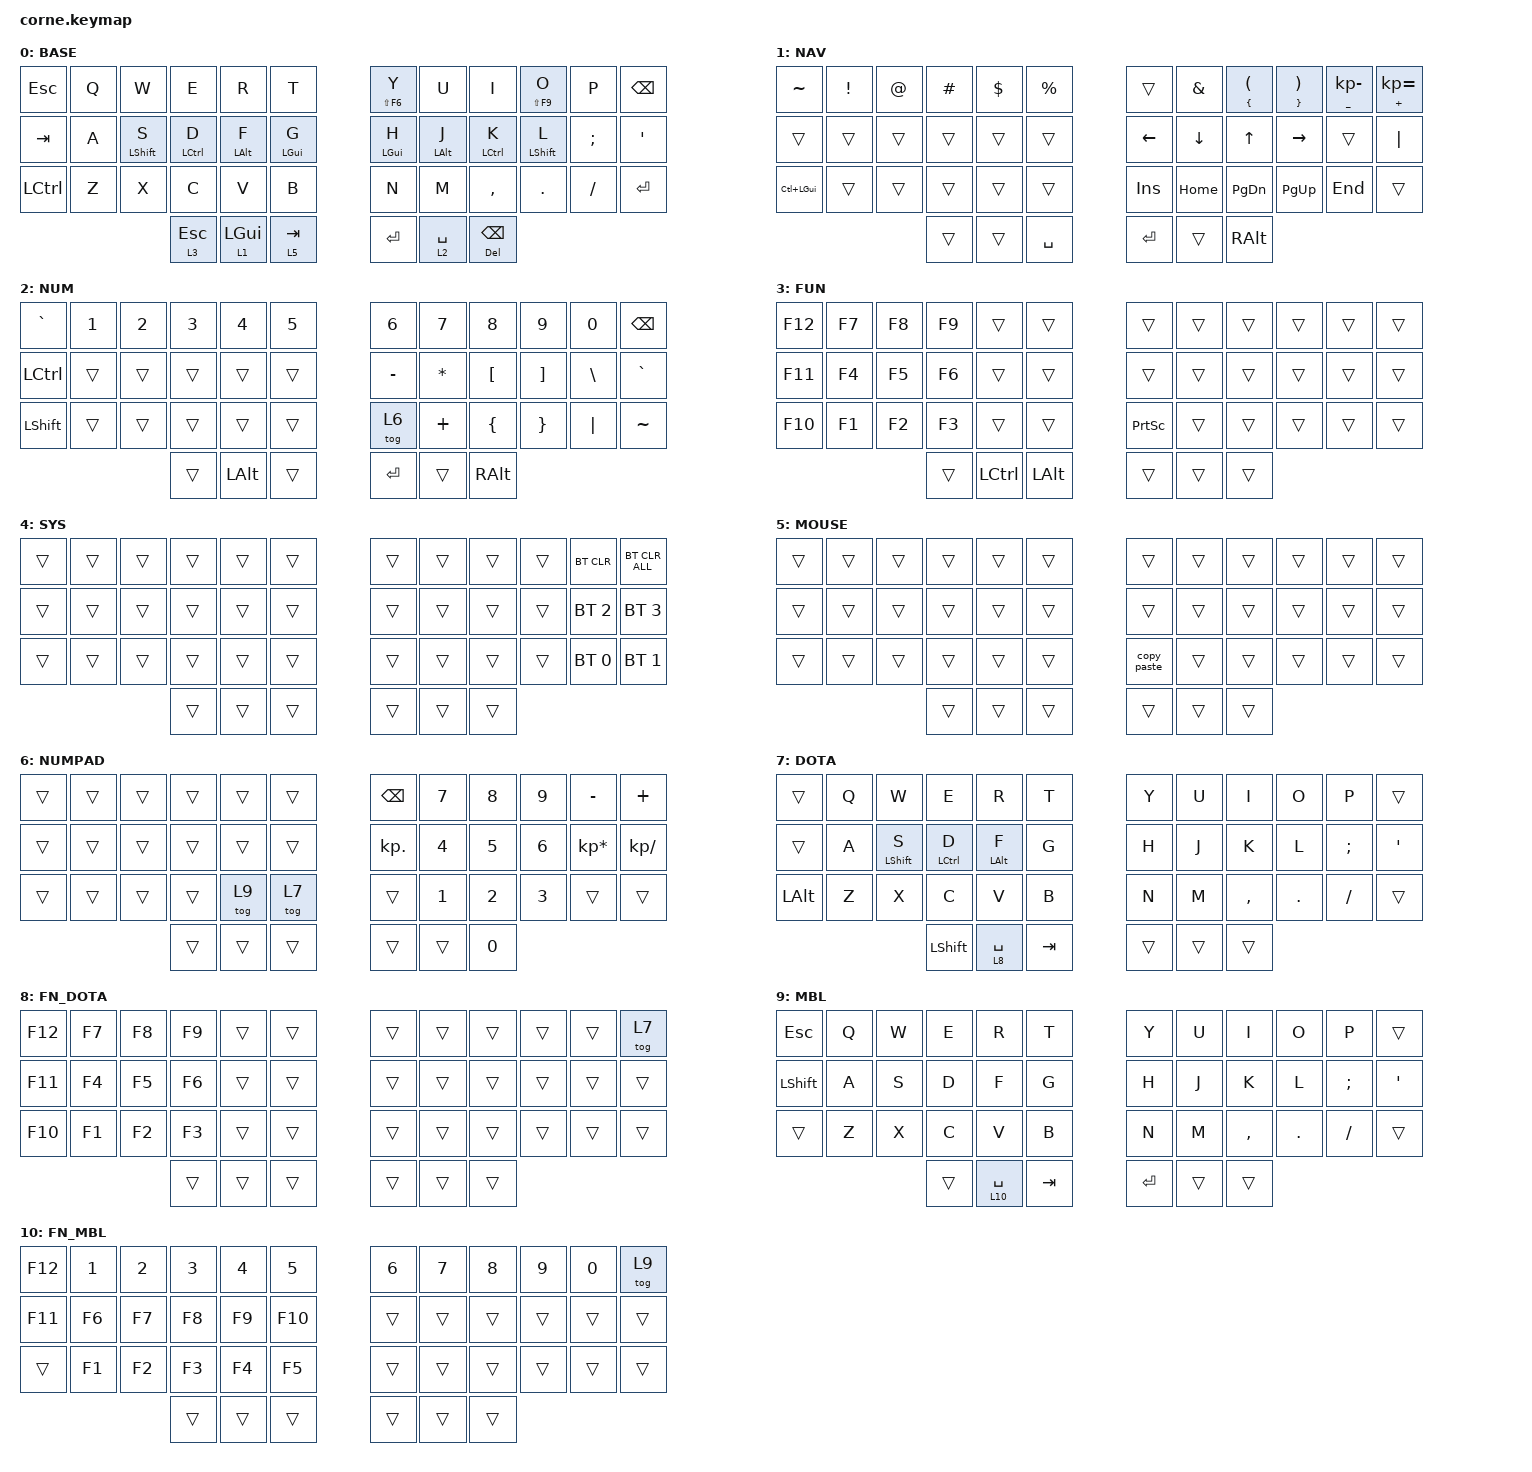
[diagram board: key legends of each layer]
/*
 * Copyright (c) 2020 The ZMK Contributors
 *
 * SPDX-License-Identifier: MIT
 */

#include <behaviors.dtsi>
#include <dt-bindings/zmk/bt.h>
#include <dt-bindings/zmk/keys.h>

// Layer definitions

#define BASE 0
#define NAV  1
#define NUM 2
#define FUN 3
#define SYS 4
#define MOUSE 5
#define NUMPAD 6
#define DOTA 7
#define FN_DOTA 8

// long-tap action on hold, short-tap action on all interrupts

&mt {
    flavor = "tap-preferred";
    tapping-term-ms = <220>;
    quick-tap-ms = <220>;
    hold-trigger-key-positions = <0>;
    require-prior-idle-ms = <125>;
};

&sk { ignore-modifiers; };

/ {
    behaviors {
        td0: td0 {
            compatible = "zmk,behavior-tap-dance";
            label = "TD0";
            #binding-cells = <0>;
            bindings = <&kp N>, <&kp LS(INS)>;
        };

        copy_paste: copy_paste {
            compatible = "zmk,behavior-mod-morph";
            label = "COPY_PASTE";
            bindings = <&kp LS(INS)>, <&kp LC(INS)>;

            #binding-cells = <0>;
            mods = <(MOD_LCTL)>;
            keep-mods = <(MOD_LCTL)>;
        };

        a_left_alt: a_left_alt {
            compatible = "zmk,behavior-tap-dance";
            label = "A_LEFT_ALT";
            #binding-cells = <0>;
            bindings = <&kp A>, <&kp LEFT_ALT>;

            tapping-term-ms = <175>;
        };

        l_right_alt: l_right_alt {
            compatible = "zmk,behavior-tap-dance";
            label = "L_RIGHT_ALT";
            #binding-cells = <0>;
            bindings = <&kp L>, <&kp LEFT_ALT>;

            tapping-term-ms = <175>;
        };

        y_shift_f6: y_shift_f6 {
            compatible = "zmk,behavior-tap-dance";
            label = "Y_SHIFT_F6";
            #binding-cells = <0>;
            bindings = <&kp Y>, <&kp LS(F6)>;

            tapping-term-ms = <175>;
        };

        o_shift_f9: o_shift_f9 {
            compatible = "zmk,behavior-tap-dance";
            label = "O_SHIFT_F9";
            #binding-cells = <0>;
            bindings = <&kp O>, <&kp LS(F9)>;

            tapping-term-ms = <175>;
        };
    };

    keymap {
        compatible = "zmk,keymap";

        BASE {
            // -----------------------------------------------------------------------------------------
            // |  TAB |  Q  |  W  |  E  |  R  |  T  |   |  Y  |  U   |  I  |  O  |  P  | BKSP |
            // | CTRL |  A  |  S  |  D  |  F  |  G  |   |  H  |  J   |  K  |  L  |  ;  |  '   |
            // | SHFT |  Z  |  X  |  C  |  V  |  B  |   |  N  |  M   |  ,  |  .  |  /  | ESC  |
            //                    | GUI | LWR | SPC |   | ENT | RSE  | ALT |

            bindings = <
&kp ESCAPE  &kp Q  &kp W             &kp E               &kp R           &kp T             &mt LS(F6) Y    &kp U           &kp I                 &mt LS(F9) O      &kp P          &kp BSPC
&kp TAB     &kp A  &mt LEFT_SHIFT S  &mt LEFT_CONTROL D  &mt LEFT_ALT F  &mt LEFT_GUI G    &mt LEFT_GUI H  &mt LEFT_ALT J  &mt LEFT_CONTROL K    &mt LEFT_SHIFT L  &kp SEMICOLON  &kp SQT
&kp LCTRL   &kp Z  &kp X             &kp C               &kp V           &kp B             &kp N           &kp M           &kp COMMA             &kp DOT           &kp FSLH       &kp ENTER
                                     &lt 3 ESC           &lt 1 LEFT_GUI  &lt 5 TAB         &kp ENTER       &lt 2 SPACE     &mt DELETE BACKSPACE
            >;
            display-name = "BASE";
        };

        NAV {
            // -----------------------------------------------------------------------------------------
            // |  TAB |  1  |  2  |  3  |  4  |  5  |   |  6  |  7  |  8  |  9  |  0  | BKSP |
            // | BTCLR| BT1 | BT2 | BT3 | BT4 | BT5 |   | LFT | DWN |  UP | RGT |     |      |
            // | SHFT |     |     |     |     |     |   |     |     |     |     |     |      |
            //                    | GUI |     | SPC |   | ENT |     | ALT |

            bindings = <
&kp TILDE         &kp EXCL  &kp AT  &kp HASH  &kp DOLLAR  &kp PERCENT    &trans    &kp AMPERSAND  &mt LEFT_BRACE LEFT_PARENTHESIS  &mt RIGHT_BRACE RIGHT_PARENTHESIS  &mt UNDER KP_MINUS  &mt PLUS KP_EQUAL
&trans            &trans    &trans  &trans    &trans      &trans         &kp LEFT  &kp DOWN       &kp UP                           &kp RIGHT                          &trans              &kp PIPE
&kp LC(LEFT_GUI)  &trans    &trans  &trans    &trans      &trans         &kp INS   &kp HOME       &kp PAGE_DOWN                    &kp PG_UP                          &kp END             &trans
                                    &trans    &trans      &kp SPACE      &kp RET   &trans         &kp RALT
            >;
            display-name = "NAV";
        };

        NUM {
            // -----------------------------------------------------------------------------------------
            // |  TAB |  !  |  @  |  #  |  $  |  %  |   |  ^  |  &  |  *  |  (  |  )  | BKSP |
            // | CTRL |     |     |     |     |     |   |  -  |  =  |  [  |  ]  |  \  |  `   |
            // | SHFT |     |     |     |     |     |   |  _  |  +  |  {  |  }  | "|" |  ~   |
            //                    | GUI |     | SPC |   | ENT |     | ALT |

            bindings = <
&kp GRAVE  &kp N1  &kp N2  &kp N3  &kp N4        &kp N5    &kp N6     &kp N7        &kp N8    &kp N9    &kp N0    &kp BSPC
&kp LCTRL  &trans  &trans  &trans  &trans        &trans    &kp MINUS  &kp ASTERISK  &kp LBKT  &kp RBKT  &kp BSLH  &kp GRAVE
&kp LSHFT  &trans  &trans  &trans  &trans        &trans    &tog 6     &kp PLUS      &kp LBRC  &kp RBRC  &kp PIPE  &kp TILDE
                           &trans  &kp LEFT_ALT  &trans    &kp RET    &trans        &kp RALT
            >;
            display-name = "NUM";
        };

        FUN {
            bindings = <
&kp F12  &kp F7  &kp F8  &kp F9  &trans     &trans          &trans           &trans  &trans  &trans  &trans  &trans
&kp F11  &kp F4  &kp F5  &kp F6  &trans     &trans          &trans           &trans  &trans  &trans  &trans  &trans
&kp F10  &kp F1  &kp F2  &kp F3  &trans     &trans          &kp PRINTSCREEN  &trans  &trans  &trans  &trans  &trans
                         &trans  &kp LCTRL  &kp LEFT_ALT    &trans           &trans  &trans
            >;
            display-name = "FUN";
        };

        SYS {
            bindings = <
&trans  &trans  &trans  &trans  &trans  &trans    &trans  &trans  &trans  &trans  &bt BT_CLR    &bt BT_CLR_ALL
&trans  &trans  &trans  &trans  &trans  &trans    &trans  &trans  &trans  &trans  &bt BT_SEL 2  &bt BT_SEL 3
&trans  &trans  &trans  &trans  &trans  &trans    &trans  &trans  &trans  &trans  &bt BT_SEL 0  &bt BT_SEL 1
                        &trans  &trans  &trans    &trans  &trans  &trans
            >;
            display-name = "SYS";
        };

        MOUSE {
            bindings = <
&trans  &trans  &trans  &trans  &trans  &trans    &trans       &trans  &trans  &trans  &trans  &trans
&trans  &trans  &trans  &trans  &trans  &trans    &trans       &trans  &trans  &trans  &trans  &trans
&trans  &trans  &trans  &trans  &trans  &trans    &copy_paste  &trans  &trans  &trans  &trans  &trans
                        &trans  &trans  &trans    &trans       &trans  &trans
            >;
            display-name = "MOUSE";
        };

        NUMPAD {
            bindings = <
&trans  &trans  &trans  &trans  &trans  &trans    &kp BACKSPACE  &kp N7  &kp N8  &kp N9  &kp MINUS        &kp PLUS
&trans  &trans  &trans  &trans  &trans  &trans    &kp KP_DOT     &kp N4  &kp N5  &kp N6  &kp KP_ASTERISK  &kp KP_DIVIDE
&trans  &trans  &trans  &trans  &tog 9  &tog 7    &trans         &kp N1  &kp N2  &kp N3  &trans           &trans
                        &trans  &trans  &trans    &trans         &trans  &kp N0
            >;
            display-name = "NUMPAD";
        };

        DOTA {
            bindings = <
&trans        &kp Q  &kp W             &kp E           &kp R        &kp T      &kp Y   &kp U   &kp I      &kp O    &kp P     &trans
&trans        &kp A  &mt LEFT_SHIFT S  &mt LCTRL D     &mt LALT F   &kp G      &kp H   &kp J   &kp K      &kp L    &kp SEMI  &kp APOS
&kp LEFT_ALT  &kp Z  &kp X             &kp C           &kp V        &kp B      &kp N   &kp M   &kp COMMA  &kp DOT  &kp FSLH  &trans
                                       &kp LEFT_SHIFT  &lt 8 SPACE  &kp TAB    &trans  &trans  &trans
            >;
            display-name = "DOTA";
        };

        FN_DOTA {
            bindings = <
&kp F12  &kp F7  &kp F8  &kp F9  &trans  &trans    &trans  &trans  &trans  &trans  &trans  &tog 7
&kp F11  &kp F4  &kp F5  &kp F6  &trans  &trans    &trans  &trans  &trans  &trans  &trans  &trans
&kp F10  &kp F1  &kp F2  &kp F3  &trans  &trans    &trans  &trans  &trans  &trans  &trans  &trans
                         &trans  &trans  &trans    &trans  &trans  &trans
            >;
            display-name = "FN_DOTA";
        };

        MBL {
            bindings = <
&kp ESC    &kp Q  &kp W  &kp E   &kp R         &kp T      &kp Y      &kp U   &kp I      &kp O    &kp P     &trans
&kp LSHFT  &kp A  &kp S  &kp D   &kp F         &kp G      &kp H      &kp J   &kp K      &kp L    &kp SEMI  &kp APOS
&trans     &kp Z  &kp X  &kp C   &kp V         &kp B      &kp N      &kp M   &kp COMMA  &kp DOT  &kp FSLH  &trans
                         &trans  &lt 10 SPACE  &kp TAB    &kp ENTER  &trans  &trans
            >;
            display-name = "MBL";
        };

        FN_MBL {
            bindings = <
&kp F12  &kp N1  &kp N2  &kp N3  &kp N4  &kp N5     &kp N6  &kp N7  &kp N8  &kp N9  &kp N0  &tog 9
&kp F11  &kp F6  &kp F7  &kp F8  &kp F9  &kp F10    &trans  &trans  &trans  &trans  &trans  &trans
&trans   &kp F1  &kp F2  &kp F3  &kp F4  &kp F5     &trans  &trans  &trans  &trans  &trans  &trans
                         &trans  &trans  &trans     &trans  &trans  &trans
            >;
            display-name = "FN_MBL";
        };
    };

    conditional_layers {
        compatible = "zmk,conditional-layers";

        show_sys {
            if-layers = <1 2>;
            then-layer = <4>;
        };
    };
};
